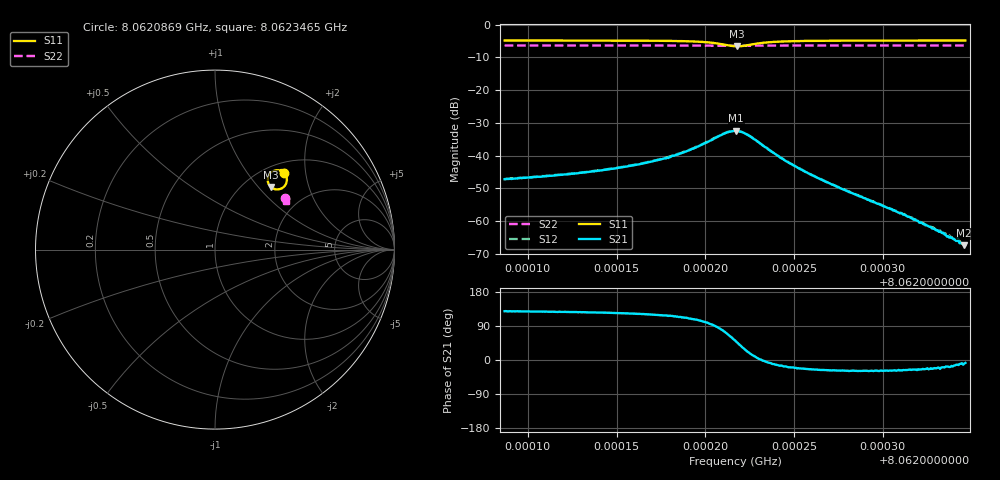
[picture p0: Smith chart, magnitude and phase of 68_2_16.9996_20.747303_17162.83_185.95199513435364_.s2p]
#  HZ  S  RI  R  50.00
! Rohde & Schwarz Vector Network Analyzer
! Rohde-Schwarz,ZNB20-2Port,1311601062101988,3.16
! Created: UTC 3/20/2024, 10:55:06 PM
! freq[Hz]  re:S11  im:S11  re:S21  im:S21  re:S12  im:S12  re:S22  im:S22
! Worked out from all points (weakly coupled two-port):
!   401 points, 8.0620869 GHz to 8.0623465 GHz, reference 50 ohm
!   highest |S21| = -32.42 dB at 8.0622174 GHz (marker M1); lowest = -67.4 dB at 8.0623459 GHz (marker M2)
!   lowest |S11| = -6.6 dB at 8.062218 GHz (marker M3), VSWR 2.76, Z = 65.6 + j58.5 ohm
!   |S11| at or under -10 dB: nowhere
!   |S22| runs from -6.4 to -6.3 dB; largest |S21 - S12| = 0.0018
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8.0620869e9  0.3829 0.4293  -0.00271 0.00339  -0.00252 0.00363  0.3886 0.2853
8.06213039e9  0.3886 0.4229  -0.00322 0.00444  -0.00301 0.00464  0.3901 0.283
8.0621544e9  0.3928 0.4167  -0.00367 0.00563  -0.00339 0.0059  0.3909 0.2814
8.06217388e9  0.3972 0.4071  -0.00414 0.00756  -0.00372 0.00791  0.3915 0.2802
8.06217907e9  0.3986 0.4032  -0.00405 0.00822  -0.00378 0.00876  0.3918 0.2798
8.06218816e9  0.4002 0.3933  -0.00414 0.0105  -0.00361 0.011  0.3919 0.2789
8.06220244e9  0.3936 0.3628  -0.00159 0.0167  -0.00067 0.017  0.3916 0.277
8.06221152e9  0.3584 0.3365  0.00684 0.0211  0.0083 0.0209  0.3901 0.276
8.06221672e9  0.3203 0.3423  0.0148 0.0188  0.0162 0.0177  0.3887 0.2767
8.06221737e9  0.3158 0.3451  0.0158 0.018  0.0171 0.0167  0.3885 0.2768
8.06221801e9  0.3116 0.3486  0.0167 0.0169  0.0178 0.0159  0.3884 0.277
8.06222386e9  0.2933 0.389  0.0193 0.00757  0.0198 0.00649  0.3884 0.2786
8.06223359e9  0.3144 0.4313  0.0135 -0.000788  0.0135 -0.00175  0.3902 0.2797
8.06224592e9  0.3404 0.4419  0.00772 -0.00247  0.00774 -0.00301  0.3919 0.2793
8.0622602e9  0.356 0.4417  0.00455 -0.0021  0.00442 -0.0024  0.393 0.2782
8.06227708e9  0.3656 0.4391  0.00272 -0.00143  0.00268 -0.0016  0.3937 0.2771
8.06230369e9  0.3737 0.4354  0.00138 -0.000733  0.00133 -0.000816  0.395 0.2757
8.0623316e9  0.3788 0.4324  0.000641 -0.000236  0.00064 -0.000296  0.3959 0.2742
8.06233939e9  0.3799 0.4318  0.000516 -0.000159  0.000505 -0.00018  0.3963 0.2737
8.06234329e9  0.3804 0.4313  0.000448 -8.53e-05  0.000477 -0.000138  0.3964 0.2736
8.06234588e9  0.3808 0.431  0.000419 -6.97e-05  0.000403 -8.67e-05  0.3966 0.2734
8.06234653e9  0.3808 0.4309  0.000424 -5.8e-05  0.000402 -9.51e-05  0.3966 0.2734
